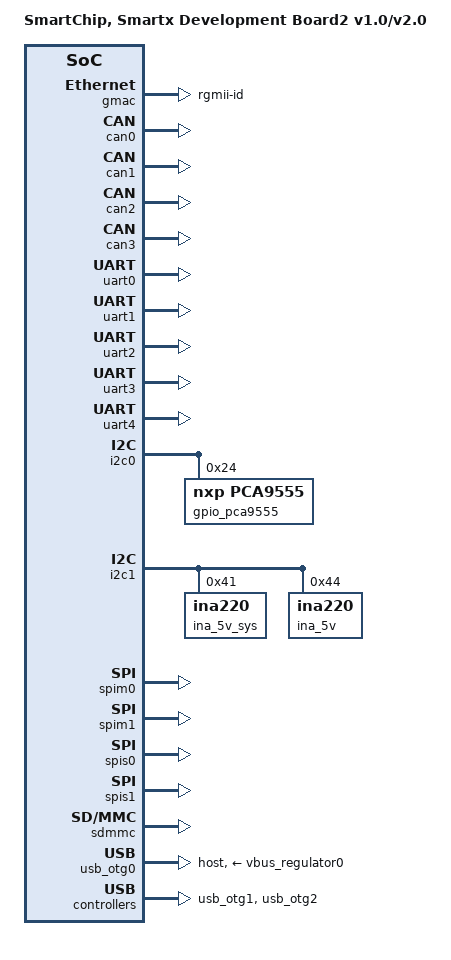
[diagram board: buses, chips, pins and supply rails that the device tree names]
/*
 * Copyright 2015 SmartChip Co., Ltd.
 */

/dts-v1/;
#include <dt-bindings/gpio/gpio.h>
#include <dt-bindings/interrupt-controller/arm-gic.h>
#include <dt-bindings/sca200v100_common.h>
#include "smartchip-sca200v100-memory.dtsi"
#include "smartchip-sca200v100.dtsi"

#define USE_RTOS 0

/ {
	model = "SmartChip, Smartx Development Board2 v1.0/v2.0";
};

&gpio_reboot {
	status = "okay";
};

&gmac {
	phy-mode = "rgmii-id";
	status = "okay";
};
&phy0 {
	max-speed = <1000>;
};

&can0 {
	status = "okay";
};
&can1 {
	status = "okay";
};
&can2 {
	status = "okay";
};
&can3 {
	status = "okay";
};

&uart0 {
	status = "okay";
};
&uart1 {
	status = "okay";
};
&uart2 {
	status = "okay";
};
&uart3 {
	status = "okay";
};
&uart4 {
	status = "okay";
};

&i2c0 {
	status = "okay";
#if 0
	ina_0v9@40 {
		reg = <0x40>;
		compatible = "ina220";
		/* uOhm */
		shunt-resistor = <10000>;
	};
	ina_1v2@4c {
		reg = <0x42>;
		compatible = "ina220";
		shunt-resistor = <100000>;
	};
	ina_1v8@42 {
		reg = <0x43>;
		compatible = "ina220";
		shunt-resistor = <100000>;
	};
#endif
	gpio_pca9555@24 {
		compatible = "nxp,pca9555";
		reg = <0x24>;
		status = "okay";
	};

};

&i2c1 {
	status = "okay";
	ina_5v_sys@41 {
		reg = <0x41>;
		compatible = "ina220";
		shunt-resistor = <100000>;
	};
	ina_5v@44 {
		reg = <0x44>;
		compatible = "ina220";
		shunt-resistor = <100000>;
	};
};

&spim0 {
	status = "okay";
};

&spim1 {
	status = "okay";
};

&spis0 {
	status = "okay";
};

&spis1 {
	status = "okay";
};

&sdmmc {
	status = "okay";

	slot@0 {
		bus-width = <4>;
		cap-sd-highspeed;
		sd-uhs-sdr12;
		sd-uhs-sdr25;
		sd-uhs-sdr50;
		sd-uhs-sdr104;

		no-mmc;
		no-sdio;
		disable-wp;

		status = "okay";
	};

	slot@1 {
		bus-width = <4>;
		cap-sd-highspeed;
		sd-uhs-sdr12;
		sd-uhs-sdr25;
		sd-uhs-sdr50;
		sd-uhs-sdr104;

		no-mmc;
		no-sdio;
		status = "okay";
	};

	slot@2 {
		bus-width = <4>;
		cap-sd-highspeed;
		sd-uhs-sdr12;
		sd-uhs-sdr25;
		sd-uhs-sdr50;
		sd-uhs-sdr104;

		no-mmc;
		no-sdio;
		disable-wp;

		status = "okay";
	};

};

&vbus_regulator0 {
	gpio = <&gpio1_d 7 GPIO_ACTIVE_HIGH>;
};
/delete-node/ &vbus_regulator1;
/delete-node/ &vbus_regulator2;

&usb_otg0 {
	vbus-supply = <&vbus_regulator0>;
	//dr_mode = "otg";
	dr_mode = "host";
	status = "okay";
};
&usb_otg1 {
	status = "okay";
};
&usb_otg2 {
	status = "okay";
};

#if USE_RTOS
/delete-node/ &cpu3;
/delete-node/ &uart1;

/{
	aliases {
		/delete-property/ serial1;
	};
};
#endif

